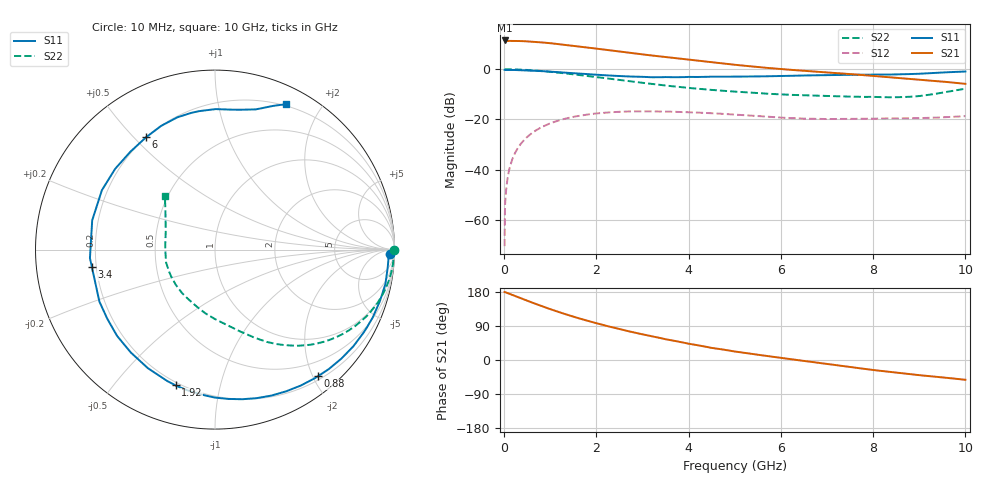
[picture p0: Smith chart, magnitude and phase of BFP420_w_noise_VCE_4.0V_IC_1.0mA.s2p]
! Infineon Technologies  Discrete & RF Semiconductors
! BFP420
! VCE =  4.0 V,  IC =  1.0 mA
! Common Emitter S-Parameters:  Jan 2016
# GHz  S  MA  R  50
!  f  S11  S21  S12  S22
! GHz  MAG  ANG  MAG  ANG  MAG  ANG  MAG  ANG
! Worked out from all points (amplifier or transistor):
!   233 points, 10 MHz to 10 GHz, reference 50 ohm
!   highest |S21| = 11.5 dB at 10 MHz (marker M1)
!   |S21| within 3 dB of that: start of sweep to 1.891 GHz
!   unconditionally stable (mu >= 1): start of sweep to 10.0008 MHz; 4.335 GHz to end of sweep
!   at 200 MHz: K = 0.03, MSG = 23.0 dB, |S12| = -34.8 dB
!   at 1.74 GHz: K = 0.27, MSG = 13.5 dB, |S12| = -18.2 dB
!   at 10 GHz: K = 1.35, MAG = 2.9 dB, |S12| = -18.7 dB
!   lowest NFmin = 0.53 dB at 900 MHz
!   S11 on the Smith chart (normalised r, x): 10 MHz: 38, -36; 880 MHz: 0.26, -2.08; 1.92 GHz: 0.18, -0.73; 3.4 GHz: 0.18, -0.07; 6 GHz: 0.20, +0.54; 10 GHz: 0.18, +1.59
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0.01  0.9726 -1.5  3.741 179.3  0.0003 22.1  0.9978 0.0
0.015  0.9701 -1.3  3.678 179.3  0.0011 74.8  0.9971 -0.2
0.02  0.9676 -1.0  3.615 179.3  0.002 81.7  0.9964 -0.5
0.04  0.9678 -2.2  3.631 178.2  0.0037 83.4  0.9968 -1.1
0.09  0.9676 -5.2  3.659 175.8  0.0082 84.5  0.9965 -2.7
0.16  0.9671 -9.3  3.666 172.5  0.0146 83.6  0.9944 -4.9
0.28  0.963 -16.2  3.649 166.8  0.0254 79.8  0.9878 -8.5
0.45  0.9524 -26.2  3.611 158.9  0.0406 74.2  0.973 -13.5
0.7  0.9299 -40.7  3.501 147.3  0.0615 65.6  0.9398 -20.7
0.88  0.909 -50.9  3.381 139.3  0.0752 59.5  0.9102 -25.6
1.2  0.8718 -68.9  3.153 125.9  0.0966 49.5  0.8508 -33.7
1.68  0.8135 -94.2  2.801 107.9  0.1207 35.7  0.7574 -44.2
1.92  0.7875 -106.2  2.628 99.7  0.1293 29.4  0.7121 -48.7
2.2  0.7589 -119.6  2.442 90.6  0.1369 22.7  0.6619 -53.6
2.6  0.7272 -138.6  2.199 78.6  0.1436 13.5  0.5946 -60.2
3.4  0.6929 -172.0  1.792 57.6  0.1441 -1.3  0.4854 -71.8
4  0.7033 166.6  1.56 43.0  0.1398 -9.8  0.4245 -81.2
5.1  0.7148 139.0  1.201 20.8  0.1235 -20.6  0.3533 -100.3
6  0.7341 121.6  1.009 5.6  0.1086 -23.8  0.3159 -117.1
6.8  0.7589 108.9  0.89 -7.2  0.1028 -22.6  0.2961 -133.9
8.4  0.7856 82.9  0.683 -32.0  0.1047 -21.1  0.2768 -178.4
10  0.9011 64.0  0.512 -52.2  0.1164 -19.3  0.4104 132.9
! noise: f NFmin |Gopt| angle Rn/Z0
0.9  0.53  0.67  34  0.35
1.8  1.15  0.44  77  0.27
2.4  1.28  0.44  100  0.22
3  1.61  0.45  131  0.15
4  1.9  0.47  -177  0.09
5  2.32  0.44  -133  0.45
6  3.43  0.6  -118  0.25
